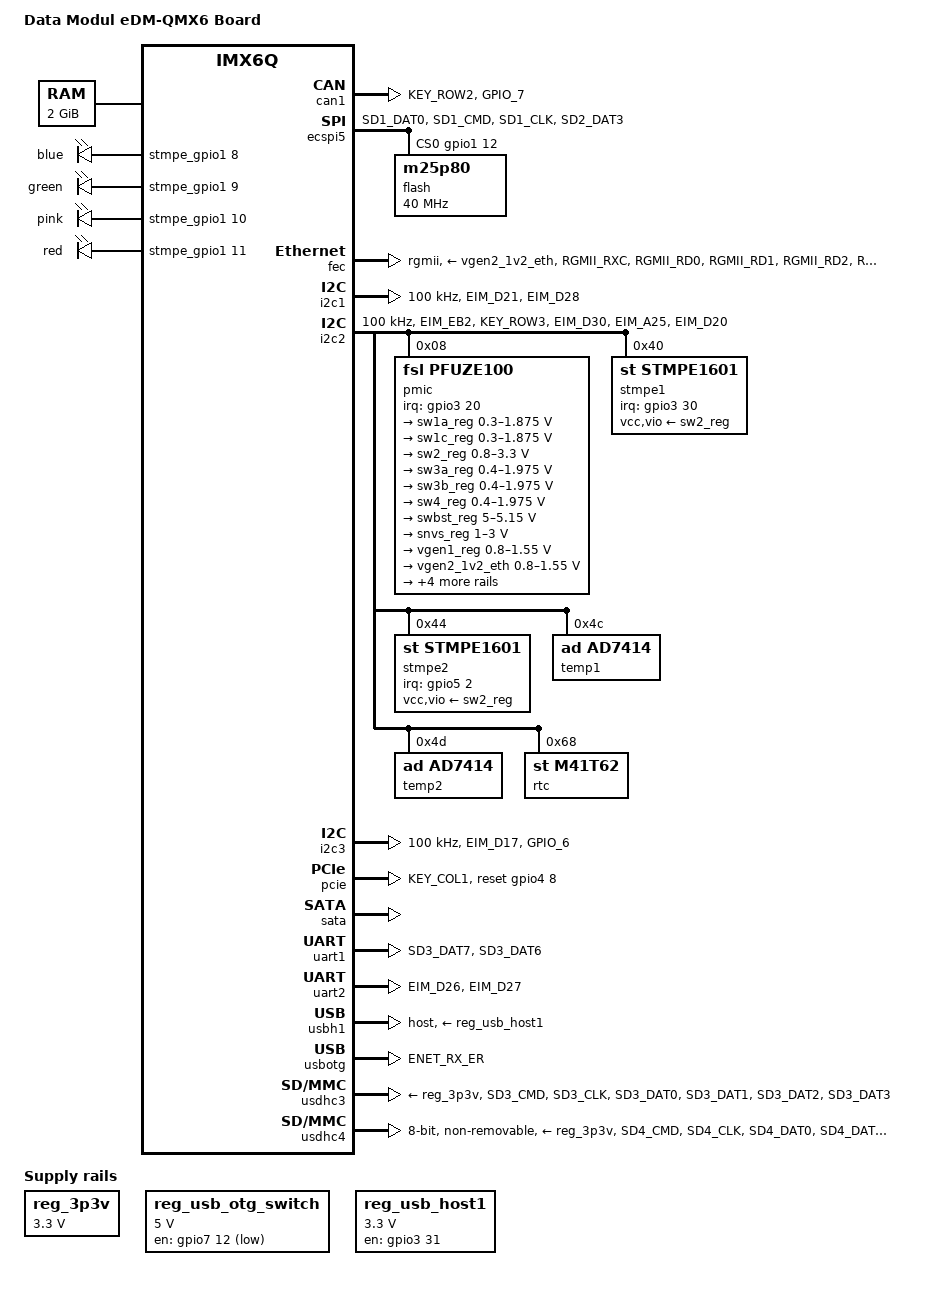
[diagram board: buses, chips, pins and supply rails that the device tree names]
/*
 * Copyright 2013 Data Modul AG
 *
 * The code contained herein is licensed under the GNU General Public
 * License. You may obtain a copy of the GNU General Public License
 * Version 2 or later at the following locations:
 *
 * http://www.opensource.org/licenses/gpl-license.html
 * http://www.gnu.org/copyleft/gpl.html
 */

/dts-v1/;

#include <dt-bindings/gpio/gpio.h>
#include "imx6q.dtsi"

/ {
	model = "Data Modul eDM-QMX6 Board";
	compatible = "dmo,imx6q-edmqmx6", "fsl,imx6q";

	chosen {
		stdout-path = &uart2;
	};

	aliases {
		gpio7 = &stmpe_gpio1;
		gpio8 = &stmpe_gpio2;
		stmpe-i2c0 = &stmpe1;
		stmpe-i2c1 = &stmpe2;
	};

	memory {
		reg = <0x10000000 0x80000000>;
	};

	regulators {
		compatible = "simple-bus";
		#address-cells = <1>;
		#size-cells = <0>;

		reg_3p3v: regulator@0 {
			compatible = "regulator-fixed";
			reg = <0>;
			regulator-name = "3P3V";
			regulator-min-microvolt = <3300000>;
			regulator-max-microvolt = <3300000>;
			regulator-always-on;
		};

		reg_usb_otg_switch: regulator@1 {
			compatible = "regulator-fixed";
			reg = <1>;
			regulator-name = "usb_otg_switch";
			regulator-min-microvolt = <5000000>;
			regulator-max-microvolt = <5000000>;
			gpio = <&gpio7 12 0>;
			regulator-boot-on;
			regulator-always-on;
		};

		reg_usb_host1: regulator@2 {
			compatible = "regulator-fixed";
			reg = <2>;
			regulator-name = "usb_host1_en";
			regulator-min-microvolt = <3300000>;
			regulator-max-microvolt = <3300000>;
			gpio = <&gpio3 31 0>;
			enable-active-high;
		};
	};

	gpio-leds {
		compatible = "gpio-leds";

		led-blue {
			label = "blue";
			gpios = <&stmpe_gpio1 8 GPIO_ACTIVE_HIGH>;
			linux,default-trigger = "heartbeat";
		};

		led-green {
			label = "green";
			gpios = <&stmpe_gpio1 9 GPIO_ACTIVE_HIGH>;
		};

		led-pink {
			label = "pink";
			gpios = <&stmpe_gpio1 10 GPIO_ACTIVE_HIGH>;
		};

		led-red {
			label = "red";
			gpios = <&stmpe_gpio1 11 GPIO_ACTIVE_HIGH>;
		};
	};
};

&can1 {
	pinctrl-names = "default";
	pinctrl-0 = <&pinctrl_can1>;
	status = "okay";
};

&ecspi5 {
	pinctrl-names = "default";
	pinctrl-0 = <&pinctrl_ecspi5>;
	fsl,spi-num-chipselects = <1>;
	cs-gpios = <&gpio1 12 0>;
	status = "okay";

	flash: m25p80@0 {
		compatible = "m25p80", "jedec,spi-nor";
		spi-max-frequency = <40000000>;
		reg = <0>;
	};
};

&fec {
	pinctrl-names = "default";
	pinctrl-0 = <&pinctrl_enet>;
	phy-mode = "rgmii";
	phy-reset-gpios = <&gpio1 25 0>;
	phy-supply = <&vgen2_1v2_eth>;
	status = "okay";
};

&i2c1 {
	clock-frequency = <100000>;
	pinctrl-names = "default";
	pinctrl-0 = <&pinctrl_i2c1>;
	status = "okay";
};

&i2c2 {
	clock-frequency = <100000>;
	pinctrl-names = "default";
	pinctrl-0 = <&pinctrl_i2c2
		     &pinctrl_stmpe1
		     &pinctrl_stmpe2
		     &pinctrl_pfuze>;
	status = "okay";

	pmic: pfuze100@08 {
		compatible = "fsl,pfuze100";
		reg = <0x08>;
		interrupt-parent = <&gpio3>;
		interrupts = <20 8>;

		regulators {
			sw1a_reg: sw1ab {
				regulator-min-microvolt = <300000>;
				regulator-max-microvolt = <1875000>;
				regulator-boot-on;
				regulator-always-on;
			};

			sw1c_reg: sw1c {
				regulator-min-microvolt = <300000>;
				regulator-max-microvolt = <1875000>;
				regulator-boot-on;
				regulator-always-on;
			};

			sw2_reg: sw2 {
				regulator-min-microvolt = <800000>;
				regulator-max-microvolt = <3300000>;
				regulator-boot-on;
				regulator-always-on;
			};

			sw3a_reg: sw3a {
				regulator-min-microvolt = <400000>;
				regulator-max-microvolt = <1975000>;
				regulator-boot-on;
				regulator-always-on;
			};

			sw3b_reg: sw3b {
				regulator-min-microvolt = <400000>;
				regulator-max-microvolt = <1975000>;
				regulator-boot-on;
				regulator-always-on;
			};

			sw4_reg: sw4 {
				regulator-min-microvolt = <400000>;
				regulator-max-microvolt = <1975000>;
				regulator-always-on;
			};

			swbst_reg: swbst {
				regulator-min-microvolt = <5000000>;
				regulator-max-microvolt = <5150000>;
				regulator-always-on;
			};

			snvs_reg: vsnvs {
				regulator-min-microvolt = <1000000>;
				regulator-max-microvolt = <3000000>;
				regulator-boot-on;
				regulator-always-on;
			};

			vref_reg: vrefddr {
				regulator-boot-on;
				regulator-always-on;
			};

			vgen1_reg: vgen1 {
				regulator-min-microvolt = <800000>;
				regulator-max-microvolt = <1550000>;
			};

			vgen2_1v2_eth: vgen2 {
				regulator-min-microvolt = <800000>;
				regulator-max-microvolt = <1550000>;
			};

			vdd_high_in: vgen3 {
				regulator-min-microvolt = <1800000>;
				regulator-max-microvolt = <3300000>;
				regulator-boot-on;
				regulator-always-on;
			};

			vgen4_reg: vgen4 {
				regulator-min-microvolt = <1800000>;
				regulator-max-microvolt = <3300000>;
				regulator-always-on;
			};

			vgen5_reg: vgen5 {
				regulator-min-microvolt = <1800000>;
				regulator-max-microvolt = <3300000>;
				regulator-always-on;
			};

			vgen6_reg: vgen6 {
				regulator-min-microvolt = <1800000>;
				regulator-max-microvolt = <3300000>;
				regulator-always-on;
			};
		};
	};

	stmpe1: stmpe1601@40 {
		compatible = "st,stmpe1601";
		reg = <0x40>;
		interrupts = <30 0>;
		interrupt-parent = <&gpio3>;
		vcc-supply = <&sw2_reg>;
		vio-supply = <&sw2_reg>;

		stmpe_gpio1: stmpe_gpio {
			#gpio-cells = <2>;
			compatible = "st,stmpe-gpio";
		};
	};

	stmpe2: stmpe1601@44 {
		compatible = "st,stmpe1601";
		reg = <0x44>;
		interrupts = <2 0>;
		interrupt-parent = <&gpio5>;
		vcc-supply = <&sw2_reg>;
		vio-supply = <&sw2_reg>;

		stmpe_gpio2: stmpe_gpio {
			#gpio-cells = <2>;
			compatible = "st,stmpe-gpio";
		};
	};

	temp1: ad7414@4c {
		compatible = "ad,ad7414";
		reg = <0x4c>;
	};

	temp2: ad7414@4d {
		compatible = "ad,ad7414";
		reg = <0x4d>;
	};

	rtc: m41t62@68 {
		compatible = "st,m41t62";
		reg = <0x68>;
	};
};

&i2c3 {
	clock-frequency = <100000>;
	pinctrl-names = "default";
	pinctrl-0 = <&pinctrl_i2c3>;
	status = "okay";
};

&iomuxc {
	pinctrl-names = "default";
	pinctrl-0 = <&pinctrl_hog>;

	imx6q-dmo-edmqmx6 {
		pinctrl_hog: hoggrp {
			fsl,pins = <
				MX6QDL_PAD_EIM_A16__GPIO2_IO22 0x80000000
				MX6QDL_PAD_EIM_A17__GPIO2_IO21 0x80000000
			>;
		};

		pinctrl_can1: can1grp {
			fsl,pins = <
				MX6QDL_PAD_KEY_ROW2__FLEXCAN1_RX	0x1b0b0
				MX6QDL_PAD_GPIO_7__FLEXCAN1_TX		0x1b0b0
			>;
		};

		pinctrl_ecspi5: ecspi5rp-1 {
			fsl,pins = <
				MX6QDL_PAD_SD1_DAT0__ECSPI5_MISO	0x80000000
				MX6QDL_PAD_SD1_CMD__ECSPI5_MOSI		0x80000000
				MX6QDL_PAD_SD1_CLK__ECSPI5_SCLK		0x80000000
				MX6QDL_PAD_SD2_DAT3__GPIO1_IO12		0x80000000
			>;
		};

		pinctrl_enet: enetgrp {
			fsl,pins = <
				MX6QDL_PAD_RGMII_RXC__RGMII_RXC		0x1b0b0
				MX6QDL_PAD_RGMII_RD0__RGMII_RD0		0x1b0b0
				MX6QDL_PAD_RGMII_RD1__RGMII_RD1		0x1b0b0
				MX6QDL_PAD_RGMII_RD2__RGMII_RD2		0x1b0b0
				MX6QDL_PAD_RGMII_RD3__RGMII_RD3		0x1b0b0
				MX6QDL_PAD_RGMII_RX_CTL__RGMII_RX_CTL	0x1b0b0
				MX6QDL_PAD_RGMII_TXC__RGMII_TXC		0x1b0b0
				MX6QDL_PAD_RGMII_TD0__RGMII_TD0		0x1b0b0
				MX6QDL_PAD_RGMII_TD1__RGMII_TD1		0x1b0b0
				MX6QDL_PAD_RGMII_TD2__RGMII_TD2		0x1b0b0
				MX6QDL_PAD_RGMII_TD3__RGMII_TD3		0x1b0b0
				MX6QDL_PAD_RGMII_TX_CTL__RGMII_TX_CTL	0x1b0b0
				MX6QDL_PAD_ENET_REF_CLK__ENET_TX_CLK	0x1b0b0
				MX6QDL_PAD_ENET_MDIO__ENET_MDIO		0x1b0b0
				MX6QDL_PAD_ENET_MDC__ENET_MDC		0x1b0b0
				MX6QDL_PAD_ENET_CRS_DV__GPIO1_IO25	0x1b0b0
				MX6QDL_PAD_GPIO_16__ENET_REF_CLK	0x4001b0a8
			>;
		};

		pinctrl_i2c1: i2c1grp {
			fsl,pins = <
				MX6QDL_PAD_EIM_D21__I2C1_SCL		0x4001b8b1
				MX6QDL_PAD_EIM_D28__I2C1_SDA		0x4001b8b1
			>;
		};

		pinctrl_i2c2: i2c2grp {
			fsl,pins = <
				MX6QDL_PAD_EIM_EB2__I2C2_SCL		0x4001b8b1
				MX6QDL_PAD_KEY_ROW3__I2C2_SDA		0x4001b8b1
			>;
		};

		pinctrl_i2c3: i2c3grp {
			fsl,pins = <
				MX6QDL_PAD_EIM_D17__I2C3_SCL		0x4001b8b1
				MX6QDL_PAD_GPIO_6__I2C3_SDA		0x4001b8b1
			>;
		};

		pinctrl_pcie: pciegrp {
			fsl,pins = <
				MX6QDL_PAD_KEY_COL1__GPIO4_IO08		0x100b1
			>;
		};

		pinctrl_pfuze: pfuze100grp1 {
			fsl,pins = <
				MX6QDL_PAD_EIM_D20__GPIO3_IO20		0x80000000
			>;
		};

		pinctrl_stmpe1: stmpe1grp {
			fsl,pins = <MX6QDL_PAD_EIM_D30__GPIO3_IO30 0x80000000>;
		};

		pinctrl_stmpe2: stmpe2grp {
			fsl,pins = <MX6QDL_PAD_EIM_A25__GPIO5_IO02 0x80000000>;
		};

		pinctrl_uart1: uart1grp {
			fsl,pins = <
				MX6QDL_PAD_SD3_DAT7__UART1_TX_DATA	0x1b0b1
				MX6QDL_PAD_SD3_DAT6__UART1_RX_DATA	0x1b0b1
			>;
		};

		pinctrl_uart2: uart2grp {
			fsl,pins = <
				MX6QDL_PAD_EIM_D26__UART2_TX_DATA	0x1b0b1
				MX6QDL_PAD_EIM_D27__UART2_RX_DATA	0x1b0b1
			>;
		};

		pinctrl_usbotg: usbotggrp {
			fsl,pins = <
				MX6QDL_PAD_ENET_RX_ER__USB_OTG_ID	0x17059
			>;
		};

		pinctrl_usdhc3: usdhc3grp {
			fsl,pins = <
				MX6QDL_PAD_SD3_CMD__SD3_CMD		0x17059
				MX6QDL_PAD_SD3_CLK__SD3_CLK		0x10059
				MX6QDL_PAD_SD3_DAT0__SD3_DATA0		0x17059
				MX6QDL_PAD_SD3_DAT1__SD3_DATA1		0x17059
				MX6QDL_PAD_SD3_DAT2__SD3_DATA2		0x17059
				MX6QDL_PAD_SD3_DAT3__SD3_DATA3		0x17059
			>;
		};

		pinctrl_usdhc4: usdhc4grp {
			fsl,pins = <
				MX6QDL_PAD_SD4_CMD__SD4_CMD		0x17059
				MX6QDL_PAD_SD4_CLK__SD4_CLK		0x10059
				MX6QDL_PAD_SD4_DAT0__SD4_DATA0		0x17059
				MX6QDL_PAD_SD4_DAT1__SD4_DATA1		0x17059
				MX6QDL_PAD_SD4_DAT2__SD4_DATA2		0x17059
				MX6QDL_PAD_SD4_DAT3__SD4_DATA3		0x17059
				MX6QDL_PAD_SD4_DAT4__SD4_DATA4		0x17059
				MX6QDL_PAD_SD4_DAT5__SD4_DATA5		0x17059
				MX6QDL_PAD_SD4_DAT6__SD4_DATA6		0x17059
				MX6QDL_PAD_SD4_DAT7__SD4_DATA7		0x17059
			>;
		};
	};
};

&pcie {
	pinctrl-names = "default";
	pinctrl-0 = <&pinctrl_pcie>;
	reset-gpio = <&gpio4 8 0>;
	status = "okay";
};

&sata {
	status = "okay";
};

&uart1 {
	pinctrl-names = "default";
	pinctrl-0 = <&pinctrl_uart1>;
	status = "okay";
};

&uart2 {
	pinctrl-names = "default";
	pinctrl-0 = <&pinctrl_uart2>;
	status = "okay";
};

&usbh1 {
	vbus-supply = <&reg_usb_host1>;
	disable-over-current;
	dr_mode = "host";
	status = "okay";
};

&usbotg {
	pinctrl-names = "default";
	pinctrl-0 = <&pinctrl_usbotg>;
	disable-over-current;
	status = "okay";
};

&usdhc3 {
	pinctrl-names = "default";
	pinctrl-0 = <&pinctrl_usdhc3>;
	vmmc-supply = <&reg_3p3v>;
	status = "okay";
};

&usdhc4 {
	pinctrl-names = "default";
	pinctrl-0 = <&pinctrl_usdhc4>;
	vmmc-supply = <&reg_3p3v>;
	non-removable;
	bus-width = <8>;
	status = "okay";
};
